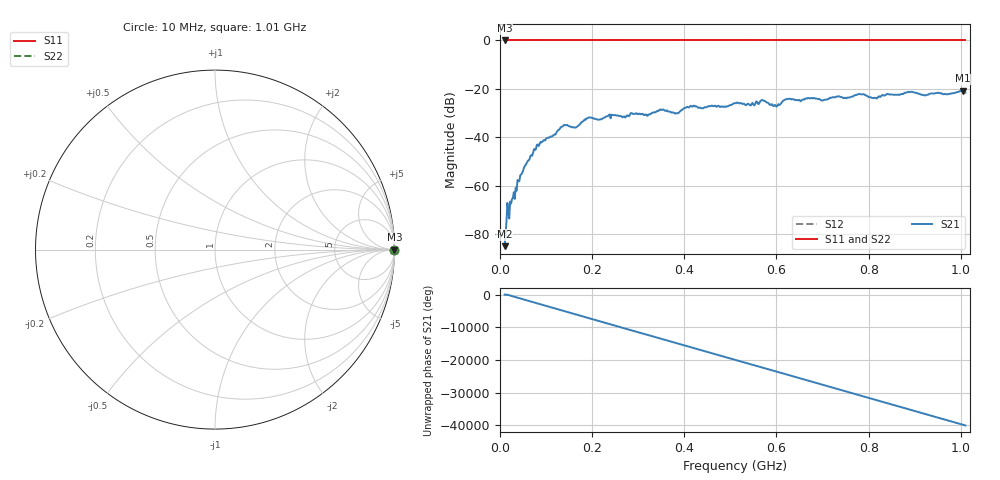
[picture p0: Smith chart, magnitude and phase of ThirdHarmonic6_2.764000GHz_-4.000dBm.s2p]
! 8/17/2025 6:59:24 AM
! C:\ANRITSUVNA\TEMP\TEMP.S2P
! CHANNEL.1
! TR.MEASUREMENT
! RAW.DATA
! RF.CORRECTION.OFF
! AVERAGING.OFF
! IF.BANDWIDTH: 5KHZ
! SWEEPTYPE:  FREQ.SWEEP(Linear)
! Reference Plane Port Info
! PORT:  PORT1  PORT2
! DISTANCE:  0  m  0  m
! TIME:  0  s  0  s
! PHASE.OFFSET:  0  deg.  0  deg.
! LOSS:  0  dB  0  dB
! REF.LOSS:  0  dB  0  dB
! REF.FREQ:  0  Hz  0  Hz
! Power Info
! POWER:  -20  dBm  -20  dBm
! EFF.POWER:  -20  dBm  -20  dBm
! SOURCE.ATTEN:  0  dB  0  dB
! TEST.ATTEN:  0  dB  0  dB
# GHZ S RI R 50.0
! FREQ.GHZ  S11RE  S11IM  S21RE  S21IM  S12RE  S12IM  S22RE  S22IM
!; PortSelection: Port_12
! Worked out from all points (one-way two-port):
!   501 points, 10 MHz to 1.01 GHz, reference 50 ohm
!   highest |S21| = -20.81 dB at 1.004 GHz (marker M1); lowest = -85.1 dB at 10 MHz (marker M2)
!   lowest |S11| = 0.0 dB at 10 MHz (marker M3)
!   |S11| at or under -10 dB: nowhere
!   |S22| runs from 0.0 to 0.0 dB; largest |S21 - S12| = 1.1
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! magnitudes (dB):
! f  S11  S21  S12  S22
! 10 MHz  0.0  -85.1  0.0  0.0
! 20 MHz  0.0  -73.6  0.0  0.0
! 42 MHz  0.0  -58.2  0.0  0.0
! 78 MHz  0.0  -44.9  0.0  0.0
! 136 MHz  0.0  -35.6  0.0  0.0
! 164 MHz  0.0  -36.0  0.0  0.0
! 178 MHz  0.0  -33.6  0.0  0.0
! 192 MHz  0.0  -31.9  0.0  0.0
! 322 MHz  0.0  -30.8  0.0  0.0
! 344 MHz  0.0  -29.1  0.0  0.0
! 384 MHz  0.0  -30.1  0.0  0.0
! 416 MHz  0.0  -27.3  0.0  0.0
! 510 MHz  0.0  -25.9  0.0  0.0
! 570 MHz  0.0  -24.6  0.0  0.0
! 598 MHz  0.0  -26.9  0.0  0.0
! 624 MHz  0.0  -24.3  0.0  0.0
! 678 MHz  0.0  -23.9  0.0  0.0
! 782 MHz  0.0  -22.2  0.0  0.0
! 814 MHz  0.0  -23.7  0.0  0.0
! 844 MHz  0.0  -22.3  0.0  0.0
! 1.004 GHz  0.0  -20.8  0.0  0.0
! 1.01 GHz  0.0  -21.6  0.0  0.0
